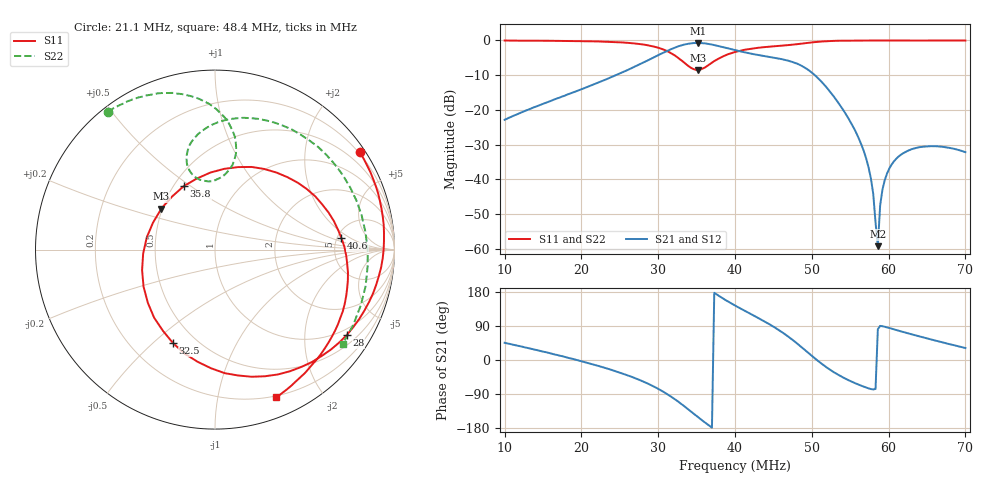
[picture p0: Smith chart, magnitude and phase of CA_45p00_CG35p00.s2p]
#  HZ  S  RI  R  50.00
! Rohde & Schwarz ZVT8 8Ports - Version 4.11 - 1300.0000k08 SN: 100242
! Date: 2026-07-31 14:58:56
! Measurements: S11 S21 S12 S22
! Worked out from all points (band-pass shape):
!   201 points, 10 MHz to 70 MHz, reference 50 ohm
!   highest |S21| = -0.73 dB at 35.2 MHz (marker M1); lowest = -59.3 dB at 58.6 MHz (marker M2)
!   |S21| within 3 dB of the highest: 30.48 MHz to 41.89 MHz (11.41 MHz wide, 31.5 % of centre)
!   lowest |S11| = -8.5 dB at 35.2 MHz (marker M3), VSWR 2.20, Z = 24.7 + j13.1 ohm
!   |S11| at or under -10 dB: nowhere
!   |S22| runs from -8.4 to 0.0 dB; largest |S21 - S12| = 0.0037
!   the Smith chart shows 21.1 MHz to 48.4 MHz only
!   S11 on the Smith chart (normalised r, x): 21.1 MHz: 0.17, +3.26; 28 MHz: 0.79, -3.21; 32.5 MHz: 0.38, -0.58; 35.8 MHz: 0.56, +0.47; 40.6 MHz: 5.47, +1.40; 48.4 MHz: 0.18, -1.48
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1e7  -0.4063 0.9099  0.0505 0.0512  0.0502 0.0513  -0.9201 0.3826
1.54e7  0.2253 0.9624  0.1188 0.0445  0.1188 0.044  -0.8024 0.5791
2.02e7  0.7334 0.643  0.2015 -0.0148  0.2007 -0.0148  -0.6361 0.7391
2.11e7  0.806 0.5434  0.2181 -0.0357  0.218 -0.0356  -0.5965 0.7682
2.8e7  0.7348 -0.4754  0.2637 -0.3965  0.2649 -0.3967  -0.1591 0.8607
3.01e7  0.3509 -0.6956  0.1368 -0.605  0.138 -0.605  0.0102 0.7804
3.25e7  -0.2336 -0.5212  -0.2542 -0.772  -0.255 -0.7705  0.1179 0.5661
3.52e7  -0.2987 0.2283  -0.8042 -0.4448  -0.8036 -0.4466  -0.0362 0.3794
3.58e7  -0.174 0.3536  -0.8596 -0.3039  -0.8589 -0.3049  -0.0858 0.3897
4e7  0.6618 0.1601  -0.5866 0.4279  -0.5856 0.4283  -0.0447 0.6801
4.06e7  0.7047 0.0637  -0.5138 0.4759  -0.5131 0.4751  0.014 0.7086
4.48e7  0.6315 -0.5195  -0.00532 0.5696  -0.00538 0.5692  0.622 0.5263
4.84e7  0.3421 -0.8235  0.35 0.2773  0.3501 0.2758  0.7118 -0.525
5.02e7  0.1407 -0.9307  0.3269 0.0436  0.3271 0.0443  0.0961 -0.9299
5.32e7  -0.2657 -0.9516  0.1119 -0.0819  0.1121 -0.082  -0.8301 -0.5293
5.65e7  -0.6444 -0.7601  0.0113 -0.0285  0.0114 -0.0284  -0.9844 0.1374
5.77e7  -0.7505 -0.6563  0.00236 -0.00996  0.00236 -0.00993  -0.9452 0.308
5.86e7  -0.8198 -0.5702  0.000163 0.00108  0.000152 0.00107  -0.9047 0.4149
5.89e7  -0.8386 -0.5394  -1.45e-06 0.00421  4.41e-06 0.00423  -0.8893 0.447
6.01e7  -0.9063 -0.4129  0.00136 0.0143  0.00133 0.0142  -0.8237 0.559
6.37e7  -0.9962 -0.00304  0.0125 0.0256  0.0125 0.0255  -0.6103 0.7863
7e7  -0.7444 0.6622  0.0209 0.0129  0.0209 0.0128  -0.2507 0.9643
